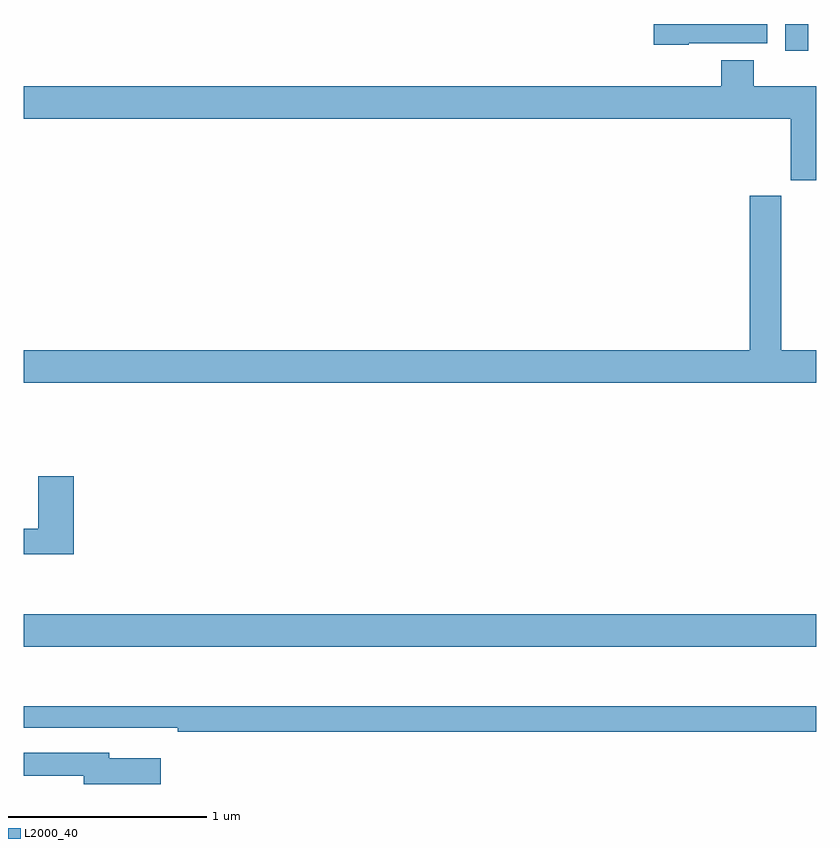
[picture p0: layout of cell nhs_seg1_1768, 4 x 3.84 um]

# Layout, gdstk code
import gdstk
lib = gdstk.Library(unit=1e-6, precision=1e-09)
def R(c, l, rs):  # rectangles x0, y0, x1, y1
    for r in rs: c.add(gdstk.rectangle(r[:2], r[2:], *l))
def P(c, l, *ps):  # polygons
    for p in ps: c.add(gdstk.Polygon(p, *l))
L2000_40 = (2000, 40)

nhs_seg1_1768 = lib.new_cell('nhs_seg1_1768')
R(nhs_seg1_1768, L2000_40, [(207,561.056,211,561.22), (210.843,564.063,210.961,564.199)])
P(nhs_seg1_1768, L2000_40, [(210.357,564.102),(210.753,564.102),(210.753,564.199),(210.657,564.199),(210.657,564.198),(210.297,564.198),(210.297,564.199),(210.181,564.199),(210.181,564.095),(210.357,564.095)],
  [(210.521,564.017),(210.521,563.884),(207,563.884),(207,563.72),(210.872,563.72),(210.872,563.411),(211,563.411),(211,563.884),(210.686,563.884),(210.686,564.017)],
  [(211,562.552),(210.825,562.552),(210.825,563.332),(210.665,563.332),(210.665,562.552),(207,562.552),(207,562.388),(211,562.388)],
  [(207.251,561.916),(207.073,561.916),(207.073,561.65),(207,561.65),(207,561.522),(207.251,561.522)],
  [(211,560.755),(207,560.755),(207,560.646),(207.526,560.646),(207.526,560.645),(207.778,560.645),(207.778,560.626),(211,560.626)],
  [(207.691,560.491),(207.43,560.491),(207.43,560.52),(207,560.52),(207,560.404),(207.302,560.404),(207.302,560.362),(207.691,560.362)])

lib.write_gds('nhs_seg1_1768.gds')
